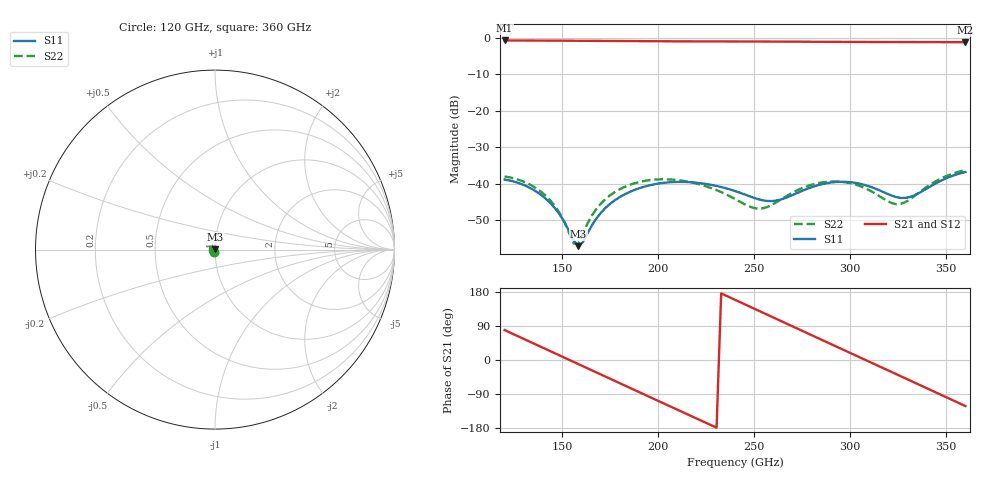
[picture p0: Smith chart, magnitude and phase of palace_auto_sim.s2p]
#  GHZ S DB R 50
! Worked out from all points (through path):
!   101 points, 120 GHz to 360 GHz, reference 50 ohm
!   highest |S21| = -0.76 dB at 120 GHz (marker M1); lowest = -1.2 dB at 360 GHz (marker M2)
!   group delay of S21, straight-line fit = 6.49 ps
!   lowest |S11| = -57.0 dB at 158.4 GHz (marker M3), VSWR 1.00, Z = 50.1 + j0.111 ohm
!   |S11| at or under -10 dB: start of sweep to end of sweep
!   |S22| runs from -56.4 to -36.3 dB; largest |S21 - S12| = 1e-13
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120  -38.81 -105.5  -0.76 78.9  -0.76 78.9  -37.98 -105.0
129.6  -40.22 -135.1  -0.78 56.5  -0.78 56.5  -39.32 -133.8
141.6  -44.13 -177.3  -0.81 28.5  -0.81 28.5  -43.34 -174.4
148.8  -48.46 150.3  -0.82 11.7  -0.82 11.7  -48.11 154.1
156  -55.53 90.7  -0.84 -5.1  -0.84 -5.1  -56.30 83.4
158.4  -57.04 52.1  -0.85 -10.8  -0.85 -10.8  -56.39 36.1
160.8  -55.92 12.5  -0.85 -16.4  -0.85 -16.4  -53.64 1.0
168  -49.32 -50.4  -0.87 -33.2  -0.87 -33.2  -46.71 -47.9
175.2  -45.35 -86.0  -0.90 -50.0  -0.90 -50.0  -43.03 -78.1
189.6  -41.28 -145.7  -0.94 -83.6  -0.94 -83.6  -39.57 -130.8
201.6  -39.80 168.0  -0.98 -111.6  -0.98 -111.6  -38.75 -172.9
220.8  -39.74 98.9  -1.02 -156.3  -1.02 -156.3  -40.03 121.2
230.4  -40.57 65.2  -1.03 -178.6  -1.03 -178.6  -41.71 86.6
240  -41.96 28.2  -1.04 158.9  -1.04 158.9  -44.14 45.3
252  -44.16 -30.6  -1.05 130.8  -1.05 130.8  -46.78 -29.8
261.6  -44.57 -90.5  -1.07 108.4  -1.07 108.4  -45.02 -96.5
280.8  -40.75 169.1  -1.12 63.4  -1.12 63.4  -40.10 176.5
302.4  -39.69 85.0  -1.17 13.0  -1.17 13.0  -40.13 97.5
321.6  -43.21 -6.6  -1.19 -31.7  -1.19 -31.7  -45.24 -3.1
328.8  -43.84 -55.3  -1.20 -48.6  -1.20 -48.6  -44.98 -60.1
340.8  -41.00 -127.7  -1.21 -76.6  -1.21 -76.6  -40.49 -127.6
360  -36.77 159.2  -1.24 -121.5  -1.24 -121.5  -36.27 167.5
